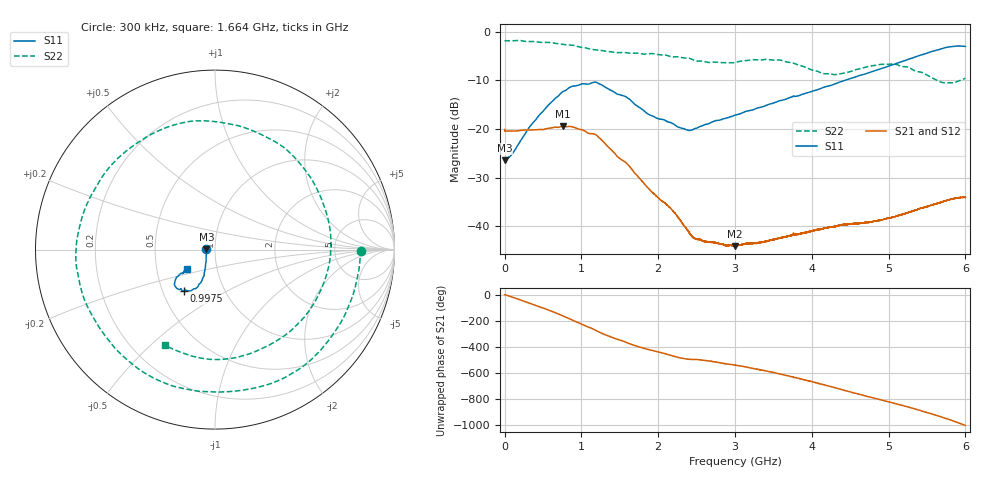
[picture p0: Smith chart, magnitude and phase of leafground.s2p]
!  8/6/2020  02:28:38
! Ref Plane: 0.000 mm
# MHZ S MA R  50
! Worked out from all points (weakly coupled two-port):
!   10001 points, 300 kHz to 6 GHz, reference 50 ohm
!   highest |S21| = -19.39 dB at 762.9 MHz (marker M1); lowest = -44.1 dB at 3 GHz (marker M2)
!   lowest |S11| = -26.5 dB at 300 kHz (marker M3), VSWR 1.10, Z = 45.5 + j0.0936 ohm
!   |S11| at or under -10 dB: start of sweep to 4.429 GHz
!   |S22| runs from -10.5 to -1.8 dB; largest |S21 - S12| = 0.0023
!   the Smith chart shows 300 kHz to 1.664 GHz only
!   S11 on the Smith chart (normalised r, x): 300 kHz: 0.91, +0.00; 997.5 MHz: 0.64, -0.32; 1.664 GHz: 0.71, -0.16
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0.3  0.04747 178.8  0.09881 -1.1  0.09653 -0.8  0.8151 -0.4
338.6831  0.1085 -119.4  0.09774 -69.5  0.09788 -69.5  0.7934 -100.9
564.8718  0.1746 -113.2  0.1014 -117.2  0.1016 -117.3  0.777 -165.6
762.8619  0.244 -116.8  0.1073 -164.3  0.1074 -164.3  0.7432 137.1
997.4501  0.2892 -126.9  0.0986 135.8  0.09864 135.7  0.6927 70.2
1000.45  0.2897 -127.1  0.09849 134.9  0.09855 135.0  0.6923 69.4
1283.636  0.2781 -142.5  0.07419 59.4  0.0742 59.3  0.6379 -11.3
1664.017  0.1903 -145.3  0.03792 -23.6  0.03797 -23.7  0.6018 -117.6
2000.6  0.1277 -126.5  0.01961 -79.1  0.0196 -79.0  0.5826 152.7
2260.387  0.1044 -108.2  0.01227 -120.0  0.01231 -120.3  0.5533 83.2
2539.973  0.1057 -74.6  0.00731 -138.5  0.007345 -138.4  0.5009 4.1
2779.361  0.1226 -57.9  0.006653 -159.3  0.006656 -159.2  0.4856 -67.0
3000.15  0.1387 -45.1  0.006231 -179.1  0.006331 -179.3  0.4828 -131.8
3238.338  0.1579 -33.8  0.006645 155.1  0.006693 155.0  0.5167 164.8
3526.924  0.1877 -20.6  0.007388 120.8  0.007343 120.6  0.5129 93.9
4000.3  0.2438 -2.9  0.008943 54.5  0.008952 54.4  0.4062 -29.0
4227.689  0.2783 4.8  0.009781 19.5  0.009728 19.2  0.3695 -100.7
4492.875  0.329 11.4  0.01051 -22.7  0.01061 -22.9  0.3876 175.4
4757.462  0.3832 16.6  0.01103 -63.3  0.01108 -63.0  0.444 105.2
5000.45  0.4436 20.7  0.0121 -99.7  0.0121 -99.5  0.4634 47.2
5503.825  0.6044 22.0  0.01595 178.0  0.01592 178.0  0.3583 -76.3
6000  0.7071 8.0  0.01975 79.9  0.01983 79.8  0.3328 120.5
